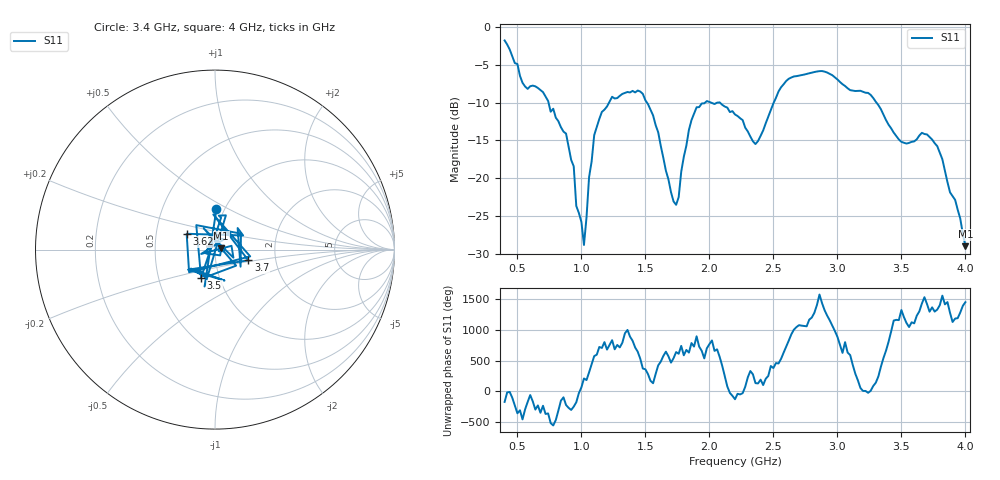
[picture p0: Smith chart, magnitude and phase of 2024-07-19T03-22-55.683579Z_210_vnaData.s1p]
!Created with skrf (http://scikit-rf.org).
# Hz S RI R 50.0
!freq ReS11 ImS11
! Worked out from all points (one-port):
!   181 points, 400 MHz to 4 GHz, reference 50 ohm
!   lowest |S11| = -28.9 dB at 4 GHz (marker M1), VSWR 1.07, Z = 53.6 + j0.774 ohm
!   |S11| at or under -10 dB: 742.9 MHz to 1.216 GHz (473.2 MHz wide, 48.3 % of centre); 1.512 GHz to 1.967 GHz (454.8 MHz wide, 26.2 % of centre); 3.305 GHz to end of sweep (the widest 3 of 5)
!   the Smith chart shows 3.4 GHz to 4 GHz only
!   S11 on the Smith chart (normalised r, x): 3.4 GHz: 0.92, +0.44; 3.5 GHz: 0.82, -0.26; 3.62 GHz: 0.72, +0.13; 3.7 GHz: 1.44, -0.18; 4 GHz: 1.07, +0.02
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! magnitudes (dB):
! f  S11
! 400 MHz  -1.8
! 540 MHz  -7.4
! 700 MHz  -8.6
! 860 MHz  -13.8
! 940 MHz  -18.4
! 960 MHz  -23.6
! 1.02 GHz  -28.8
! 1.06 GHz  -19.8
! 1.1 GHz  -14.3
! 1.3 GHz  -9.1
! 1.48 GHz  -8.9
! 1.6 GHz  -13.9
! 1.72 GHz  -23.0
! 1.76 GHz  -22.5
! 1.84 GHz  -13.6
! 1.9 GHz  -10.6
! 2.2 GHz  -11.6
! 2.36 GHz  -15.5
! 2.66 GHz  -6.6
! 3.1 GHz  -8.4
! 3.26 GHz  -9.0
! 3.4 GHz  -12.9
! 3.5 GHz  -15.2
! 3.56 GHz  -15.3
! 3.62 GHz  -14.9
! 3.7 GHz  -14.2
! 3.82 GHz  -17.5
! 4 GHz  -28.9
